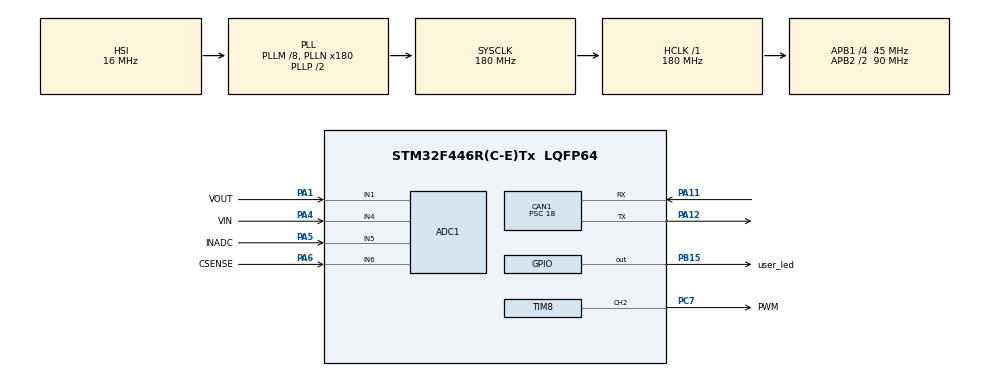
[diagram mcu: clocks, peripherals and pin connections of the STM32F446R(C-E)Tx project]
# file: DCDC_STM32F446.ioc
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ADC1.Channel-0\#ChannelRegularConversion=ADC_CHANNEL_1
ADC1.Channel-1\#ChannelRegularConversion=ADC_CHANNEL_4
ADC1.Channel-2\#ChannelRegularConversion=ADC_CHANNEL_5
ADC1.Channel-3\#ChannelRegularConversion=ADC_CHANNEL_6
ADC1.Channel-4\#ChannelRegularConversion=ADC_CHANNEL_VREFINT
ADC1.DMAContinuousRequests=ENABLE
ADC1.EOCSelection=ADC_EOC_SEQ_CONV
ADC1.ExternalTrigConv=ADC_EXTERNALTRIGCONV_T8_TRGO
ADC1.NbrOfConversion=5
ADC1.NbrOfConversionFlag=1
ADC1.Rank-0\#ChannelRegularConversion=1
ADC1.Rank-1\#ChannelRegularConversion=2
ADC1.Rank-2\#ChannelRegularConversion=3
ADC1.Rank-3\#ChannelRegularConversion=4
ADC1.Rank-4\#ChannelRegularConversion=5
ADC1.SamplingTime-0\#ChannelRegularConversion=ADC_SAMPLETIME_112CYCLES
ADC1.SamplingTime-1\#ChannelRegularConversion=ADC_SAMPLETIME_144CYCLES
ADC1.SamplingTime-2\#ChannelRegularConversion=ADC_SAMPLETIME_112CYCLES
ADC1.SamplingTime-3\#ChannelRegularConversion=ADC_SAMPLETIME_112CYCLES
ADC1.SamplingTime-4\#ChannelRegularConversion=ADC_SAMPLETIME_3CYCLES
ADC1.master=1
CAN1.BS1=CAN_BS1_7TQ
CAN1.BS2=CAN_BS2_2TQ
CAN1.CalculateBaudRate=250000
CAN1.CalculateTimeBit=4000
CAN1.CalculateTimeQuantum=400.0
CAN1.Prescaler=18
Dma.ADC1.0.Direction=DMA_PERIPH_TO_MEMORY
Dma.ADC1.0.FIFOMode=DMA_FIFOMODE_DISABLE
Dma.ADC1.0.Instance=DMA2_Stream0
Dma.ADC1.0.MemDataAlignment=DMA_MDATAALIGN_HALFWORD
Dma.ADC1.0.MemInc=DMA_MINC_ENABLE
Dma.ADC1.0.Mode=DMA_CIRCULAR
Dma.ADC1.0.PeriphDataAlignment=DMA_PDATAALIGN_HALFWORD
Dma.ADC1.0.PeriphInc=DMA_PINC_DISABLE
Dma.ADC1.0.Priority=DMA_PRIORITY_LOW
Dma.Request0=ADC1
Mcu.Family=STM32F4
Mcu.Name=STM32F446R(C-E)Tx
Mcu.Package=LQFP64
NVIC.ADC_IRQn=true\:0\:0\:false\:false\:true\:true\:true\:true
NVIC.CAN1_RX0_IRQn=true\:0\:0\:false\:false\:true\:true\:true\:true
NVIC.DMA2_Stream0_IRQn=true\:0\:0\:false\:false\:true\:false\:true\:true
NVIC.PriorityGroup=NVIC_PRIORITYGROUP_4
PA1.GPIO_Label=VOUT
PA1.Signal=ADCx_IN1
PA11.Mode=CAN_Activate
PA11.Signal=CAN1_RX
PA12.Mode=CAN_Activate
PA12.Signal=CAN1_TX
PA13.Mode=Serial_Wire
PA13.Signal=SYS_JTMS-SWDIO
PA14.Mode=Serial_Wire
PA14.Signal=SYS_JTCK-SWCLK
PA4.GPIO_Label=VIN
PA4.Signal=ADCx_IN4
PA5.GPIO_Label=INADC
PA5.Signal=ADCx_IN5
PA6.GPIO_Label=CSENSE
PA6.Signal=ADCx_IN6
PB15.GPIO_Label=user_led
PB15.Signal=GPIO_Output
PC7.GPIO_Label=PWM
PC7.Signal=S_TIM8_CH2
ProjectManager.HeapSize=0x200
ProjectManager.StackSize=0x400
ProjectManager.TargetToolchain=STM32CubeIDE
RCC.AHBFreq_Value=180000000
RCC.APB1CLKDivider=RCC_HCLK_DIV4
RCC.APB1Freq_Value=45000000
RCC.APB1TimFreq_Value=90000000
RCC.APB2CLKDivider=RCC_HCLK_DIV2
RCC.APB2Freq_Value=90000000
RCC.APB2TimFreq_Value=180000000
RCC.CortexFreq_Value=180000000
RCC.HCLKFreq_Value=180000000
RCC.PLLM=8
RCC.PLLN=180
RCC.SYSCLKFreq_VALUE=180000000
RCC.SYSCLKSource=RCC_SYSCLKSOURCE_PLLCLK
RCC.USBFreq_Value=180000000
RCC.VCOOutputFreq_Value=360000000
SH.ADCx_IN1.0=ADC1_IN1,IN1
SH.ADCx_IN4.0=ADC1_IN4,IN4
SH.ADCx_IN5.0=ADC1_IN5,IN5
SH.ADCx_IN6.0=ADC1_IN6,IN6
SH.S_TIM8_CH2.0=TIM8_CH2,PWM Generation2 CH2
TIM8.AutoReloadPreload=TIM_AUTORELOAD_PRELOAD_ENABLE
TIM8.Channel-PWM\ Generation2\ CH2=TIM_CHANNEL_2
TIM8.CounterMode=TIM_COUNTERMODE_CENTERALIGNED1
TIM8.Period=450
TIM8.RepetitionCounter=9
TIM8.TIM_MasterOutputTrigger=TIM_TRGO_UPDATE
VP_ADC1_Vref_Input.Mode=IN-Vrefint
board=custom

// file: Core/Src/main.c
/* USER CODE BEGIN Header */
/**
  ******************************************************************************
  * @file           : main.c
  * @brief          : Main program body
  ******************************************************************************
  * @attention
  *
  * Copyright (c) 2026 STMicroelectronics.
  * All rights reserved.
  *
  * This software is licensed under terms that can be found in the LICENSE file
  * in the root directory of this software component.
  * If no LICENSE file comes with this software, it is provided AS-IS.
  *
  ******************************************************************************
  */
/* USER CODE END Header */
#include "main.h"

/* USER CODE BEGIN Includes */
#include "dcdc_controller.h"
/* USER CODE END Includes */

ADC_HandleTypeDef hadc1;
DMA_HandleTypeDef hdma_adc1;

CAN_HandleTypeDef hcan1;

TIM_HandleTypeDef htim8;

/* USER CODE BEGIN PV */
EYS_TYPEDEF eys;
EYS_MODE_TYPEDEF Mode;
/* USER CODE END PV */

void SystemClock_Config(void);
static void MX_GPIO_Init(void);
static void MX_DMA_Init(void);
static void MX_ADC1_Init(void);
static void MX_TIM8_Init(void);
static void MX_CAN1_Init(void);

/* USER CODE BEGIN 0 */
void HAL_ADC_ConvCpltCallback(ADC_HandleTypeDef* hadc)
{
    Data(&eys);
    HAL_GPIO_TogglePin(user_led_GPIO_Port, user_led_Pin);
    eys.cnt++;
    if(eys.cnt > 5000)
    {
        can_data();
        eys.cnt = 0;
    }

    if(Mode != IDLE && Mode != Err)
    {
        // Switch between NO_LOAD and WITH_LOAD based on quiescent current threshold (0.5 A)
        if(eys.A > 0.5)
        {
            Mode = WITH_LOAD;
        }
        else
        {
            Mode = NO_LOAD;
        }

        if(eys.V_OUT > V_MAX || eys.A > A_MAX || (eys.EMA_V_IN < 24))
        {
            Mode = Err;
        }
    }

    switch(Mode)
    {
        case(IDLE):
            PWM_Stop(&eys);
            break;

        case(NO_LOAD):
            PI_NO_LOAD(&eys);

            if(eys.D <= MAX_D)
            {
                EYS_Soft_Start(&eys);
                if(!eys.soft_start_control)
                {
                    PWM_Change(&eys);
                }
            }
            break;

        case(WITH_LOAD):
            PI(&eys);
            PI_A(&eys);

            float duty_voltage = eys.PI_OUT;
            float duty_current = eys.PI_A_OUT;

            // Minimum-select arbitration for smooth Constant-Current / Constant-Voltage (CC/CV) crossover
            float target_D = (duty_current < duty_voltage) ? duty_current : duty_voltage;

            Slew_Rate_Limit(&eys, target_D);

            EYS_Soft_Start(&eys);
            if(!eys.soft_start_control)
            {
                PWM_Change(&eys);
            }
            break;

        case(Err):
            PWM_Stop(&eys);
            break;
    }
}

void HAL_CAN_RxFifo0MsgPendingCallback(CAN_HandleTypeDef *hcan_ptr)
{
    if (HAL_CAN_GetRxMessage(hcan_ptr, CAN_RX_FIFO0, &eys.RxHeader, eys.CAN.received_message) == HAL_OK)
    {
        if(eys.CAN.received_message[0] == 3)
        {
            eys.CAN.ecu_current_ref = 5;
        }
        else
        {
            eys.CAN.ecu_current_ref = eys.CAN.received_message[0];
        }
        eys.CAN.h2_ratio = eys.CAN.received_message[1];
        eys.CAN.cnt = 0;
        eys.ecu_flag = 1;
    }
}
/* USER CODE END 0 */

int main(void)
{

  /* MCU Configuration--------------------------------------------------------*/

  /* Reset of all peripherals, Initializes the Flash interface and the Systick. */
  HAL_Init();

  /* Configure the system clock */
  SystemClock_Config();

  /* Initialize all configured peripherals */
  MX_GPIO_Init();
  MX_DMA_Init();
  MX_ADC1_Init();
  MX_TIM8_Init();
  MX_CAN1_Init();
  /* USER CODE BEGIN 2 */
  can_config();
  INIT(&eys);
  /* USER CODE END 2 */

  /* Infinite loop */
  while (1)
  {

  }
}

void SystemClock_Config(void)
{
  RCC_OscInitTypeDef RCC_OscInitStruct = {0};
  RCC_ClkInitTypeDef RCC_ClkInitStruct = {0};

  /** Configure the main internal regulator output voltage
  */
  __HAL_RCC_PWR_CLK_ENABLE();
  __HAL_PWR_VOLTAGESCALING_CONFIG(PWR_REGULATOR_VOLTAGE_SCALE1);

  /** Initializes the RCC Oscillators according to the specified parameters
  * in the RCC_OscInitTypeDef structure.
  */
  RCC_OscInitStruct.OscillatorType = RCC_OSCILLATORTYPE_HSI;
  RCC_OscInitStruct.HSIState = RCC_HSI_ON;
  RCC_OscInitStruct.HSICalibrationValue = RCC_HSICALIBRATION_DEFAULT;
  RCC_OscInitStruct.PLL.PLLState = RCC_PLL_ON;
  RCC_OscInitStruct.PLL.PLLSource = RCC_PLLSOURCE_HSI;
  RCC_OscInitStruct.PLL.PLLM = 8;
  RCC_OscInitStruct.PLL.PLLN = 180;
  RCC_OscInitStruct.PLL.PLLP = RCC_PLLP_DIV2;
  RCC_OscInitStruct.PLL.PLLQ = 2;
  RCC_OscInitStruct.PLL.PLLR = 2;
  if (HAL_RCC_OscConfig(&RCC_OscInitStruct) != HAL_OK)
  {
    Error_Handler();
  }

  /** Activate the Over-Drive mode
  */
  if (HAL_PWREx_EnableOverDrive() != HAL_OK)
  {
    Error_Handler();
  }

  /** Initializes the CPU, AHB and APB buses clocks
  */
  RCC_ClkInitStruct.ClockType = RCC_CLOCKTYPE_HCLK|RCC_CLOCKTYPE_SYSCLK
                              |RCC_CLOCKTYPE_PCLK1|RCC_CLOCKTYPE_PCLK2;
  RCC_ClkInitStruct.SYSCLKSource = RCC_SYSCLKSOURCE_PLLCLK;
  RCC_ClkInitStruct.AHBCLKDivider = RCC_SYSCLK_DIV1;
  RCC_ClkInitStruct.APB1CLKDivider = RCC_HCLK_DIV4;
  RCC_ClkInitStruct.APB2CLKDivider = RCC_HCLK_DIV2;

  if (HAL_RCC_ClockConfig(&RCC_ClkInitStruct, FLASH_LATENCY_5) != HAL_OK)
  {
    Error_Handler();
  }
}

static void MX_ADC1_Init(void)
{
  ADC_ChannelConfTypeDef sConfig = {0};

  /** Configure the global features of the ADC (Clock, Resolution, Data Alignment and number of conversion)
  */
  hadc1.Instance = ADC1;
  hadc1.Init.ClockPrescaler = ADC_CLOCK_SYNC_PCLK_DIV4;
  hadc1.Init.Resolution = ADC_RESOLUTION_12B;
  hadc1.Init.ScanConvMode = ENABLE;
  hadc1.Init.ContinuousConvMode = DISABLE;
  hadc1.Init.DiscontinuousConvMode = DISABLE;
  hadc1.Init.ExternalTrigConvEdge = ADC_EXTERNALTRIGCONVEDGE_RISING;
  hadc1.Init.ExternalTrigConv = ADC_EXTERNALTRIGCONV_T8_TRGO;
  hadc1.Init.DataAlign = ADC_DATAALIGN_RIGHT;
  hadc1.Init.NbrOfConversion = 5;
  hadc1.Init.DMAContinuousRequests = ENABLE;
  hadc1.Init.EOCSelection = ADC_EOC_SEQ_CONV;
  if (HAL_ADC_Init(&hadc1) != HAL_OK)
  {
    Error_Handler();
  }

  /** Configure for the selected ADC regular channel its corresponding rank in the sequencer and its sample time.
  */
  sConfig.Channel = ADC_CHANNEL_1;
  sConfig.Rank = 1;
  sConfig.SamplingTime = ADC_SAMPLETIME_112CYCLES;
  if (HAL_ADC_ConfigChannel(&hadc1, &sConfig) != HAL_OK)
  {
    Error_Handler();
  }

  /** Configure for the selected ADC regular channel its corresponding rank in the sequencer and its sample time.
  */
  sConfig.Channel = ADC_CHANNEL_4;
  sConfig.Rank = 2;
  sConfig.SamplingTime = ADC_SAMPLETIME_144CYCLES;
  if (HAL_ADC_ConfigChannel(&hadc1, &sConfig) != HAL_OK)
  {
    Error_Handler();
  }

  /** Configure for the selected ADC regular channel its corresponding rank in the sequencer and its sample time.
  */
  sConfig.Channel = ADC_CHANNEL_5;
  sConfig.Rank = 3;
  sConfig.SamplingTime = ADC_SAMPLETIME_112CYCLES;
  if (HAL_ADC_ConfigChannel(&hadc1, &sConfig) != HAL_OK)
  {
    Error_Handler();
  }

  /** Configure for the selected ADC regular channel its corresponding rank in the sequencer and its sample time.
  */
  sConfig.Channel = ADC_CHANNEL_6;
  sConfig.Rank = 4;
  if (HAL_ADC_ConfigChannel(&hadc1, &sConfig) != HAL_OK)
  {
    Error_Handler();
  }

  /** Configure for the selected ADC regular channel its corresponding rank in the sequencer and its sample time.
  */
  sConfig.Channel = ADC_CHANNEL_VREFINT;
  sConfig.Rank = 5;
  sConfig.SamplingTime = ADC_SAMPLETIME_480CYCLES;
  if (HAL_ADC_ConfigChannel(&hadc1, &sConfig) != HAL_OK)
  {
    Error_Handler();
  }
}

static void MX_CAN1_Init(void)
{
  hcan1.Instance = CAN1;
  hcan1.Init.Prescaler = 18;
  hcan1.Init.Mode = CAN_MODE_NORMAL;
  hcan1.Init.SyncJumpWidth = CAN_SJW_1TQ;
  hcan1.Init.TimeSeg1 = CAN_BS1_7TQ;
  hcan1.Init.TimeSeg2 = CAN_BS2_2TQ;
  hcan1.Init.TimeTriggeredMode = DISABLE;
  hcan1.Init.AutoBusOff = DISABLE;
  hcan1.Init.AutoWakeUp = DISABLE;
  hcan1.Init.AutoRetransmission = DISABLE;
  hcan1.Init.ReceiveFifoLocked = DISABLE;
  hcan1.Init.TransmitFifoPriority = DISABLE;
  if (HAL_CAN_Init(&hcan1) != HAL_OK)
  {
    Error_Handler();
  }
}

static void MX_TIM8_Init(void)
{
  TIM_MasterConfigTypeDef sMasterConfig = {0};
  TIM_OC_InitTypeDef sConfigOC = {0};
  TIM_BreakDeadTimeConfigTypeDef sBreakDeadTimeConfig = {0};

  htim8.Instance = TIM8;
  htim8.Init.Prescaler = 0;
  htim8.Init.CounterMode = TIM_COUNTERMODE_CENTERALIGNED1;
  htim8.Init.Period = 450;
  htim8.Init.ClockDivision = TIM_CLOCKDIVISION_DIV1;
  htim8.Init.RepetitionCounter = 9;
  htim8.Init.AutoReloadPreload = TIM_AUTORELOAD_PRELOAD_ENABLE;
  if (HAL_TIM_PWM_Init(&htim8) != HAL_OK)
  {
    Error_Handler();
  }
  sMasterConfig.MasterOutputTrigger = TIM_TRGO_UPDATE;
  sMasterConfig.MasterSlaveMode = TIM_MASTERSLAVEMODE_DISABLE;
  if (HAL_TIMEx_MasterConfigSynchronization(&htim8, &sMasterConfig) != HAL_OK)
  {
    Error_Handler();
  }
  sConfigOC.OCMode = TIM_OCMODE_PWM1;
  sConfigOC.Pulse = 0;
  sConfigOC.OCPolarity = TIM_OCPOLARITY_HIGH;
  sConfigOC.OCNPolarity = TIM_OCNPOLARITY_HIGH;
  sConfigOC.OCFastMode = TIM_OCFAST_DISABLE;
  sConfigOC.OCIdleState = TIM_OCIDLESTATE_RESET;
  sConfigOC.OCNIdleState = TIM_OCNIDLESTATE_RESET;
  if (HAL_TIM_PWM_ConfigChannel(&htim8, &sConfigOC, TIM_CHANNEL_2) != HAL_OK)
  {
    Error_Handler();
  }
  sBreakDeadTimeConfig.OffStateRunMode = TIM_OSSR_DISABLE;
  sBreakDeadTimeConfig.OffStateIDLEMode = TIM_OSSI_DISABLE;
  sBreakDeadTimeConfig.LockLevel = TIM_LOCKLEVEL_OFF;
  sBreakDeadTimeConfig.DeadTime = 0;
  sBreakDeadTimeConfig.BreakState = TIM_BREAK_DISABLE;
  sBreakDeadTimeConfig.BreakPolarity = TIM_BREAKPOLARITY_HIGH;
  sBreakDeadTimeConfig.AutomaticOutput = TIM_AUTOMATICOUTPUT_DISABLE;
  if (HAL_TIMEx_ConfigBreakDeadTime(&htim8, &sBreakDeadTimeConfig) != HAL_OK)
  {
    Error_Handler();
  }
  HAL_TIM_MspPostInit(&htim8);
}

static void MX_DMA_Init(void)
{
  /* DMA controller clock enable */
  __HAL_RCC_DMA2_CLK_ENABLE();

  /* DMA interrupt init */
  /* DMA2_Stream0_IRQn interrupt configuration */
  HAL_NVIC_SetPriority(DMA2_Stream0_IRQn, 0, 0);
  HAL_NVIC_EnableIRQ(DMA2_Stream0_IRQn);
}

static void MX_GPIO_Init(void)
{
  GPIO_InitTypeDef GPIO_InitStruct = {0};

  /* GPIO Ports Clock Enable */
  __HAL_RCC_GPIOA_CLK_ENABLE();
  __HAL_RCC_GPIOB_CLK_ENABLE();
  __HAL_RCC_GPIOC_CLK_ENABLE();

  /*Configure GPIO pin Output Level */
  HAL_GPIO_WritePin(user_led_GPIO_Port, user_led_Pin, GPIO_PIN_RESET);

  /*Configure GPIO pin : user_led_Pin */
  GPIO_InitStruct.Pin = user_led_Pin;
  GPIO_InitStruct.Mode = GPIO_MODE_OUTPUT_PP;
  GPIO_InitStruct.Pull = GPIO_NOPULL;
  GPIO_InitStruct.Speed = GPIO_SPEED_FREQ_LOW;
  HAL_GPIO_Init(user_led_GPIO_Port, &GPIO_InitStruct);
}

void Error_Handler(void)
{
  __disable_irq();
  while (1)
  {
  }
}
